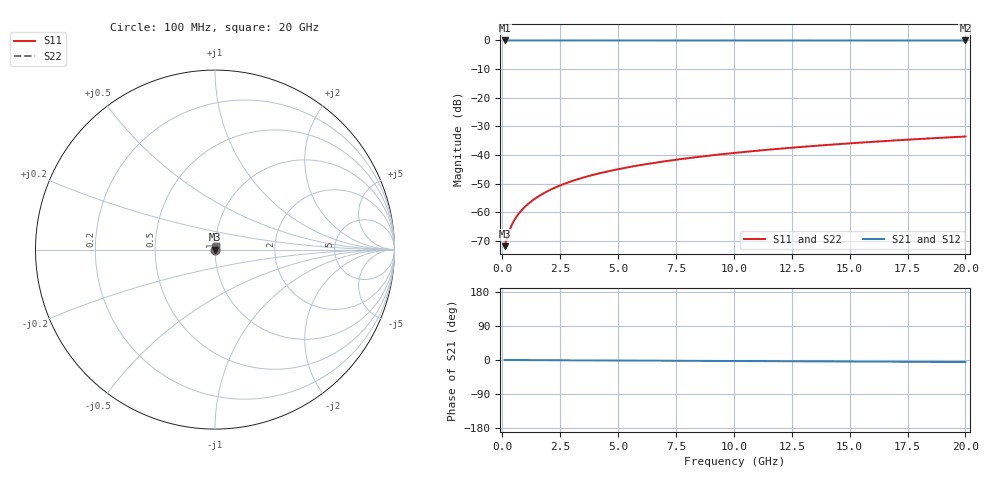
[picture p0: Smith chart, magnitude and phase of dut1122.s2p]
! Touchstone file exported from HFSS 2026.1.0
!  File:  C:/ffzhzh/LocalFiles/Ansys_Project_Files/temp_train_TSV_1122_1783190973_43440.aedt
!  Generated:  02:51:11 AM Jul  5, 2026
!  Design:  TSV
!  Project:  temp_train_TSV_1122_1783190973_43440
! Variables:
!  h_bsmrdl = 2um
!  h_ox = 20um
!  h_rdl = 5um
!  h_sub = 50.65um
!  h_tmrdl = 5um
!  h_tsv = 50.65um
!  h_via = 3um
!  l_bsmrdl = 300um
!  l_sub = 411.4um
!  l_tmrdl = 200um
!  m_sub = 200um
!  pitch = 30.41um
!  r_tsv = 5.7um
!  s_tmrdl = 10um
!  w_bsmrdl = 18um
!  w_sub = 500um
!  w_tmrdl = 12um
!  x_tsv_center1 = 206um
!  x_tsv_center2 = 524um
!  x_tsv_center3 = 736um
!  x_tsv_center4 = 1054um
!  x_tsv_center5 = 1266um
!  x_tsv_center6 = 1584um
# GHz S MA R 50.000000
! Terminal data exported
! Port[1] = TSV1_1_T1
! Port[2] = TSV1_1_T2
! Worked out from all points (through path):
!   200 points, 100 MHz to 20 GHz, reference 50 ohm
!   highest |S21| = 0.00 dB at 100 MHz (marker M1); lowest = 0.0 dB at 20 GHz (marker M2)
!   lowest |S11| = -71.8 dB at 100 MHz (marker M3), VSWR 1.00, Z = 50 + j0.0141 ohm
!   |S11| at or under -10 dB: start of sweep to end of sweep
!   |S22| runs from -71.8 to -33.5 dB; largest |S21 - S12| = 5e-15
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0.1  0.0002582 33.0  0.9998 -0.0  0.9998 -0.0  0.0002582 33.0
! Gamma 0 0 0 0
! Port Impedance 50 0 50 0
0.2  0.0003595 50.7  0.9998 -0.1  0.9998 -0.1  0.0003595 50.7
0.3  0.0004766 59.2  0.9998 -0.1  0.9998 -0.1  0.0004766 59.2
0.4  0.0005957 64.0  0.9997 -0.1  0.9997 -0.1  0.0005957 64.0
0.5  0.0007133 67.1  0.9997 -0.1  0.9997 -0.1  0.0007133 67.1
0.6  0.0008288 69.3  0.9997 -0.2  0.9997 -0.2  0.0008288 69.3
0.8  0.001056 72.3  0.9997 -0.2  0.9997 -0.2  0.001056 72.3
1.1  0.001393 75.3  0.9996 -0.3  0.9996 -0.3  0.001393 75.3
1.3  0.001618 76.7  0.9996 -0.4  0.9996 -0.4  0.001618 76.7
1.6  0.001955 78.1  0.9996 -0.4  0.9996 -0.4  0.001955 78.1
2.1  0.002516 79.6  0.9996 -0.6  0.9996 -0.6  0.002516 79.6
2.7  0.003185 80.6  0.9995 -0.7  0.9995 -0.7  0.003185 80.6
3.5  0.004066 81.3  0.9994 -1.0  0.9994 -1.0  0.004066 81.3
4.2  0.004824 81.7  0.9994 -1.1  0.9994 -1.1  0.004824 81.7
5  0.00568 81.9  0.9993 -1.4  0.9993 -1.4  0.00568 81.9
5.9  0.006632 82.1  0.9992 -1.6  0.9992 -1.6  0.006632 82.1
6.8  0.007575 82.2  0.9992 -1.8  0.9992 -1.8  0.007575 82.2
8.3  0.009137 82.3  0.9991 -2.3  0.9991 -2.3  0.009137 82.3
10.1  0.011 82.3  0.999 -2.7  0.999 -2.7  0.011 82.3
13.4  0.0144 82.0  0.9988 -3.6  0.9988 -3.6  0.0144 82.0
16.7  0.01778 81.6  0.9986 -4.5  0.9986 -4.5  0.01778 81.6
20  0.02113 80.9  0.9984 -5.4  0.9984 -5.4  0.02113 80.9
